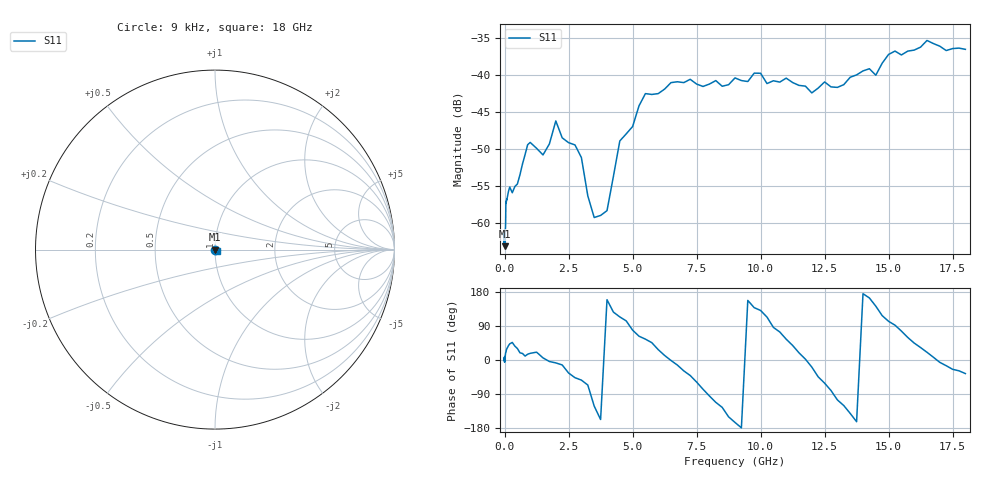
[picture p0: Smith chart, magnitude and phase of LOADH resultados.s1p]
#	HZ	S	MA	R	50.00
! Rohde & Schwarz Vector Network Analyzer
! Rohde-Schwarz,ZNB43-2Port,1334333092101683,4.21
! Created: UTC 09/15/2026, 11:47:42 AM
! freq[Hz]	mag:S12	ang:S12
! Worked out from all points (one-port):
!   116 points, 9 kHz to 18 GHz, reference 50 ohm
!   lowest |S11| = -63.1 dB at 10 kHz (marker M1), VSWR 1.00, Z = 50.1 + j0.0035 ohm
!   |S11| at or under -10 dB: start of sweep to end of sweep
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9000  0.0008 -1.1
10000  0.0007 2.9
30000  0.0007 6.0
40000  0.0009 -0.0
70000  0.0007 0.5
80000  0.0009 -2.2
200000  0.0007 -2.1
700000  0.0007 1.4
800000  0.0009 8.3
3e7  0.0009 13.3
5e7  0.001403 20.2
5e8  0.001837 30.3
9e8  0.003376 15.2
1.5e9  0.002881 5.6
2e9  0.004881 -7.6
2.5e9  0.003483 -34.4
3e9  0.002765 -53.1
3.5e9  0.001092 -121.7
4e9  0.001214 159.1
4.5e9  0.003577 113.7
4.75e9  0.003992 103.2
5.5e9  0.007454 55.1
7e9  0.00884 -28.7
9.25e9  0.009126 -179.0
1.15e10  0.008466 18.9
1.375e10  0.009963 -162.8
1.6e10  0.01464 44.7
1.8e10  0.01481 -35.8
